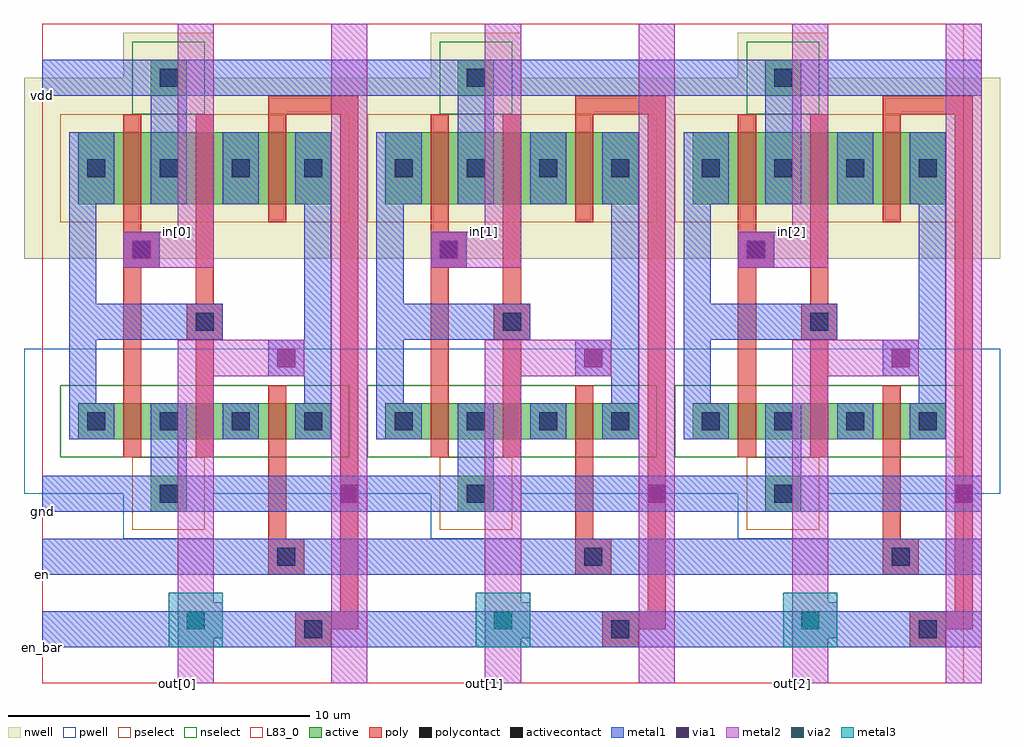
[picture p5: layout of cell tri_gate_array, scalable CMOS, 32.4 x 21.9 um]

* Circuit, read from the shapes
.subckt tri_gate_array en en_bar gnd in[0] in[1] in[2] out[0] out[1] out[2] vdd
M1 gnd in[0] n1 gnd nfet w=1.2u l=0.6u
M2 n2 n1 gnd gnd nfet w=1.2u l=0.6u
M3 out[0] en n2 gnd nfet w=1.2u l=0.6u
M4 gnd in[1] n3 gnd nfet w=1.2u l=0.6u
M5 n4 n3 gnd gnd nfet w=1.2u l=0.6u
M6 out[1] en n4 gnd nfet w=1.2u l=0.6u
M7 gnd in[2] n5 gnd nfet w=1.2u l=0.6u
M8 n6 n5 gnd gnd nfet w=1.2u l=0.6u
M9 out[2] en n6 gnd nfet w=1.2u l=0.6u
M10 vdd in[0] n1 vdd pfet w=2.4u l=0.6u
M11 n7 n1 vdd vdd pfet w=2.4u l=0.6u
M12 out[0] en_bar n7 vdd pfet w=2.4u l=0.6u
M13 vdd in[1] n3 vdd pfet w=2.4u l=0.6u
M14 n8 n3 vdd vdd pfet w=2.4u l=0.6u
M15 out[1] en_bar n8 vdd pfet w=2.4u l=0.6u
M16 vdd in[2] n5 vdd pfet w=2.4u l=0.6u
M17 n9 n5 vdd vdd pfet w=2.4u l=0.6u
M18 out[2] en_bar n9 vdd pfet w=2.4u l=0.6u
.ends

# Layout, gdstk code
import gdstk
lib = gdstk.Library(unit=1e-6, precision=1e-09)
def R(c, l, rs):  # rectangles x0, y0, x1, y1
    for r in rs: c.add(gdstk.rectangle(r[:2], r[2:], *l))
def A(c, l, x, y, w, h, nx, ny, dx, dy):  # array of equal rectangles
    R(c, l, [(x+i*dx, y+j*dy, x+i*dx+w, y+j*dy+h) for i in range(nx) for j in range(ny)])
pwell = (41, 0)
nwell = (42, 0)
active = (43, 0)
pselect = (44, 0)
nselect = (45, 0)
poly = (46, 0)
polycontact = (47, 0)
activecontact = (48, 0)
metal1 = (49, 0)
via1 = (50, 0)
metal2 = (51, 0)
via2 = (61, 0)
metal3 = (62, 0)
L83_0 = (83, 0)

tri_gate = lib.new_cell('tri_gate')
R(tri_gate, pwell, [(2.7,4.8,5.7,6.3), (-0.6,6.3,11.4,11.1)])
R(tri_gate, nwell, [(-0.6,14.1,11.4,20.1), (2.7,20.1,5.7,21.6)])
R(tri_gate, active, [(3.6,5.7,4.8,6.9), (1.2,8.1,9.6,9.3), (1.2,15.9,9.6,18.3), (3.6,19.5,4.8,20.7)])
R(tri_gate, pselect, [(3,5.1,5.4,7.5), (0.6,15.3,10.2,18.9)])
R(tri_gate, nselect, [(0.6,7.5,10.2,9.9), (3,18.9,5.4,21.3)])
R(tri_gate, poly, [(8.4,1.2,9.6,1.8), (8.4,1.8,10.5,2.4), (9.9,2.4,10.5,18.9), (7.5,3.6,8.7,4.8), (7.5,4.8,8.1,9.9), (2.7,7.5,3.3,13.8), (5.1,7.5,5.7,11.4), (4.8,11.4,6,12.6), (5.1,12.6,5.7,18.9), (2.7,13.8,3.9,15), (2.7,15,3.3,18.9), (7.5,15.3,8.1,18.9), (7.5,18.9,10.5,19.5)])
R(tri_gate, polycontact, [(8.7,1.5,9.3,2.1), (7.8,3.9,8.4,4.5), (5.1,11.7,5.7,12.3), (3,14.1,3.6,14.7)])
A(tri_gate, activecontact, 1.5, 8.4, 0.6, 0.6, 4, 2, 2.4, 8.4)
R(tri_gate, activecontact, [(3.9,6,4.5,6.6), (3.9,19.8,4.5,20.4)])
R(tri_gate, metal1, [(0,1.2,10.8,2.4), (0,1.2,10.8,2.4), (0,3.6,10.8,4.8), (0,3.6,10.8,4.8), (0,5.7,10.8,6.9), (0,5.7,10.8,6.9), (0,5.7,10.8,6.9), (3.6,6.9,4.8,9.3), (0.9,8.1,2.4,9.3), (6,8.1,7.2,9.3), (8.4,8.1,9.6,9.3), (0.9,9.3,1.8,11.4), (8.7,9.3,9.6,10.2), (7.5,10.2,9.6,11.4), (0.9,11.4,6,12.6), (8.7,11.4,9.6,15.9), (0.9,12.6,1.8,15.9), (2.7,13.8,3.9,15), (0.9,15.9,2.4,18.3), (3.6,15.9,4.8,19.5), (6,15.9,7.2,18.3), (8.4,15.9,9.6,18.3), (0,19.5,10.8,20.7), (0,19.5,10.8,20.7)])
R(tri_gate, via1, [(9.9,6,10.5,6.6), (7.8,10.5,8.4,11.1), (3,14.1,3.6,14.7)])
R(tri_gate, metal2, [(4.5,0,5.7,1.5), (4.5,0,5.7,1.5), (9.6,0,10.8,21.9), (9.6,0,10.8,21.9), (4.5,1.5,6,2.7), (4.5,2.7,5.7,10.2), (4.5,10.2,8.7,11.4), (2.7,13.8,5.7,15), (4.5,15,5.7,21.9), (4.5,15,5.7,21.9)])
R(tri_gate, via2, [(4.8,1.8,5.4,2.4)])
R(tri_gate, metal3, [(4.2,1.2,6,3)])
R(tri_gate, L83_0, [(0,0,10.2,21.9)])
tri_gate.add(gdstk.Label('gnd', (0.585,6.43), layer=49, texttype=0))
tri_gate.add(gdstk.Label('vdd', (0,19.5), layer=49, texttype=0))
tri_gate.add(gdstk.Label('en', (0,3.6), layer=49, texttype=0))
tri_gate.add(gdstk.Label('en_bar', (0,1.2), layer=49, texttype=0))
tri_gate.add(gdstk.Label('gnd', (0.965,6.6), layer=49, texttype=0))
tri_gate.add(gdstk.Label('gnd', (9.6,0), layer=51, texttype=0))
tri_gate.add(gdstk.Label('out', (4.5,0), layer=51, texttype=0))
tri_gate.add(gdstk.Label('in', (4.5,21.9), layer=51, texttype=0))
tri_gate.add(gdstk.Label('en', (0,3.6), layer=49, texttype=0))
tri_gate.add(gdstk.Label('vdd', (0,19.5), layer=49, texttype=0))
tri_gate.add(gdstk.Label('gnd', (0,5.7), layer=49, texttype=0))
tri_gate.add(gdstk.Label('gnd', (0,5.7), layer=49, texttype=0))
tri_gate.add(gdstk.Label('gnd', (9.6,0), layer=51, texttype=0))
tri_gate.add(gdstk.Label('in', (4.5,15), layer=51, texttype=0))
tri_gate.add(gdstk.Label('en_bar', (0,1.2), layer=49, texttype=0))
tri_gate.add(gdstk.Label('out', (4.5,0), layer=51, texttype=0))

tri_gate_array = lib.new_cell('tri_gate_array')
R(tri_gate_array, metal1, [(0,1.2,30.6,2.1), (0,3.6,30.6,4.5), (0,5.7,30.6,6.6), (0,19.5,30.6,20.4)])
A(tri_gate_array, metal2, 4.5, 0, 1.2, 1.5, 3, 1, 10.2, 0)
A(tri_gate_array, metal2, 4.5, 15, 1.2, 6.9, 3, 1, 10.2, 0)
tri_gate_array.add(gdstk.Reference(tri_gate, (0,0)))
tri_gate_array.add(gdstk.Reference(tri_gate, (10.2,0)))
tri_gate_array.add(gdstk.Reference(tri_gate, (20.4,0)))
tri_gate_array.add(gdstk.Label('in[2]', (24.9,15), layer=51, texttype=0))
tri_gate_array.add(gdstk.Label('en', (0,3.6), layer=49, texttype=0))
tri_gate_array.add(gdstk.Label('out[2]', (24.9,0), layer=51, texttype=0))
tri_gate_array.add(gdstk.Label('in[0]', (4.5,15), layer=51, texttype=0))
tri_gate_array.add(gdstk.Label('out[0]', (4.5,0), layer=51, texttype=0))
tri_gate_array.add(gdstk.Label('out[1]', (14.7,0), layer=51, texttype=0))
tri_gate_array.add(gdstk.Label('vdd', (0,19.5), layer=49, texttype=0))
tri_gate_array.add(gdstk.Label('gnd', (0,5.7), layer=49, texttype=0))
tri_gate_array.add(gdstk.Label('in[1]', (14.7,15), layer=51, texttype=0))
tri_gate_array.add(gdstk.Label('en_bar', (0,1.2), layer=49, texttype=0))

lib.write_gds('tri_gate_array.gds')
